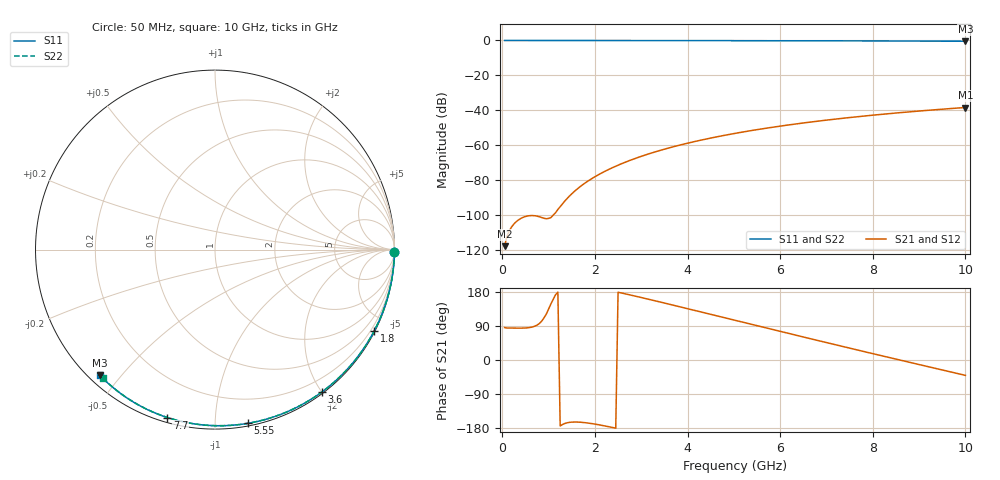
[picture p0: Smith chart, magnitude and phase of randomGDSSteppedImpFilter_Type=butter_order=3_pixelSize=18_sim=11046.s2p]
! freq	dB(S11)	phase(S11)	dB(S12)	phase(S12)
!  dB(S21)	phase(S21)	dB(S22)	phase(S22)
!S-par simulation data
#  GHz  S  DB  R 50
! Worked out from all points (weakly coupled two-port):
!   200 points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, 50 MHz to 10 GHz, reference 50 ohm
!   highest |S21| = -38.36 dB at 10 GHz (marker M1); lowest = -117.7 dB at 50 MHz (marker M2)
!   lowest |S11| = -0.4 dB at 10 GHz (marker M3), VSWR 38.77, Z = 1.54 - j22 ohm
!   |S11| at or under -10 dB: nowhere
!   |S22| runs from -0.4 to 0.0 dB; largest |S21 - S12| = 0
!   S11 on the Smith chart (normalised r, x): 50 MHz: open; 1.8 GHz: 0.04, -4.14; 3.6 GHz: 0.02, -2.00; 5.55 GHz: 0.02, -1.21; 7.7 GHz: 0.02, -0.75; 10 GHz: 0.03, -0.44
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0.05  -0.00 -0.8  -117.71 85.5  -117.71 85.5  -0.00 -0.8
0.9  -0.02 -13.7  -101.74 111.1  -101.74 111.1  -0.02 -13.6
1.75  -0.03 -26.4  -82.28 -164.9  -82.28 -164.9  -0.03 -26.2
1.8  -0.03 -27.2  -81.34 -165.5  -81.34 -165.5  -0.03 -26.9
1.85  -0.04 -27.9  -80.45 -166.3  -80.45 -166.3  -0.04 -27.6
1.9  -0.04 -28.6  -79.59 -167.2  -79.59 -167.2  -0.04 -28.4
2.05  -0.04 -30.9  -77.22 -170.2  -77.22 -170.2  -0.04 -30.5
2.25  -0.04 -33.8  -74.41 -174.8  -74.41 -174.8  -0.04 -33.4
2.45  -0.05 -36.7  -71.94 -179.9  -71.94 -179.9  -0.05 -36.3
2.65  -0.05 -39.6  -69.72 174.7  -69.72 174.7  -0.05 -39.2
3  -0.06 -44.6  -66.31 164.9  -66.31 164.9  -0.06 -44.2
3.4  -0.07 -50.3  -62.97 153.3  -62.97 153.3  -0.07 -49.8
3.6  -0.07 -53.1  -61.48 147.4  -61.48 147.4  -0.07 -52.6
4.3  -0.09 -62.8  -56.97 126.5  -56.97 126.5  -0.09 -62.1
5.05  -0.11 -72.8  -53.05 104.0  -53.05 104.0  -0.11 -72.1
5.55  -0.13 -79.3  -50.82 89.0  -50.82 89.0  -0.13 -78.5
6.1  -0.15 -86.3  -48.64 72.6  -48.64 72.6  -0.15 -85.5
6.7  -0.18 -93.8  -46.54 54.8  -46.54 54.8  -0.18 -92.9
7.7  -0.24 -105.9  -43.55 25.5  -43.55 25.5  -0.24 -104.9
8.35  -0.29 -113.5  -41.88 6.6  -41.88 6.6  -0.29 -112.5
9.15  -0.36 -122.8  -40.06 -16.3  -40.06 -16.3  -0.36 -121.6
10  -0.45 -132.5  -38.36 -40.5  -38.36 -40.5  -0.44 -131.2
